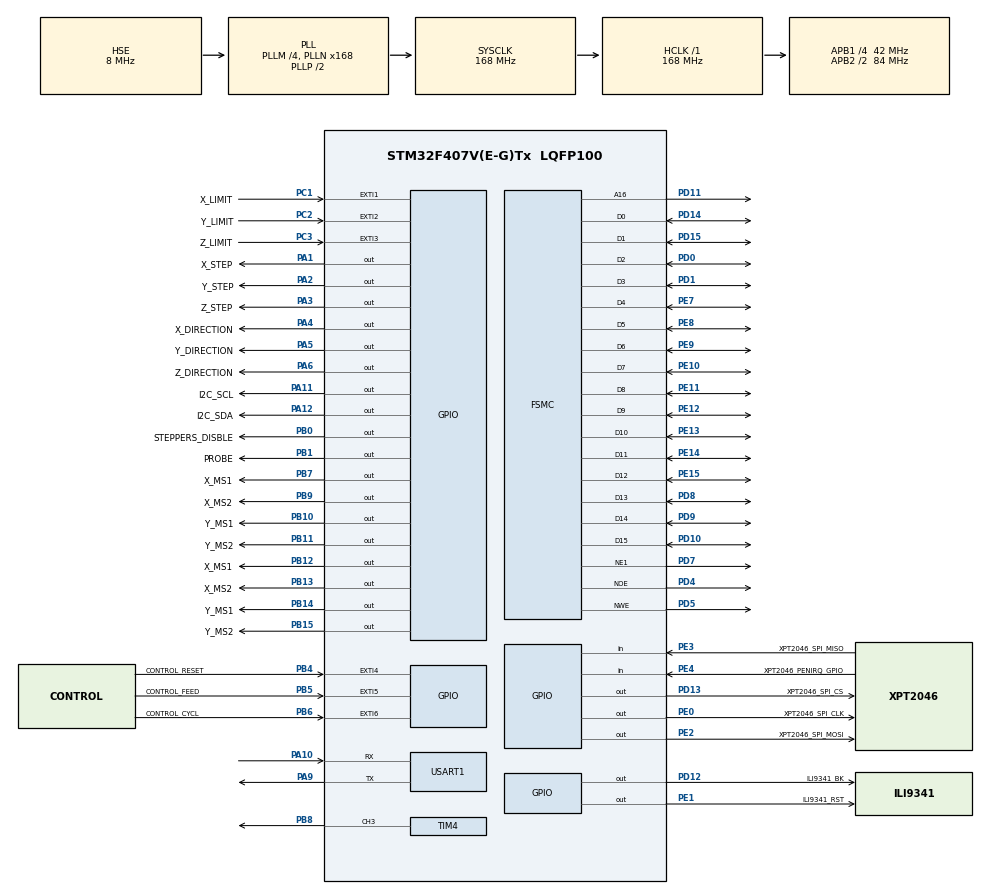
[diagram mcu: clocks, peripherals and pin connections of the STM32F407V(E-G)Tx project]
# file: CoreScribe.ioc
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FREERTOS.Tasks01=defaultTask,24,1024,StartDefaultTask,Default,NULL,Dynamic,NULL,NULL;grblTask,25,128,StartgrblTask,Default,NULL,Dynamic,NULL,NULL
FREERTOS.configUSE_NEWLIB_REENTRANT=1
FSMC.AccessMode1=FSMC_ACCESS_MODE_A
FSMC.AddressSetupTime1=1
FSMC.BusTurnAroundDuration1=0
FSMC.DataSetupTime1=4
FSMC.ExtendedMode1=FSMC_EXTENDED_MODE_ENABLE
Mcu.Family=STM32F4
Mcu.Name=STM32F407V(E-G)Tx
Mcu.Package=LQFP100
NVIC.PriorityGroup=NVIC_PRIORITYGROUP_4
NVIC.TIM2_IRQn=true\:6\:0\:true\:false\:true\:true\:true\:true\:true
NVIC.TIM3_IRQn=true\:7\:0\:true\:false\:true\:true\:true\:true\:true
NVIC.TIM5_IRQn=true\:8\:0\:true\:false\:true\:true\:true\:true\:true
NVIC.USART1_IRQn=true\:5\:0\:true\:false\:true\:true\:true\:true\:true
PA1.GPIO_Label=X_STEP
PA1.GPIO_Speed=GPIO_SPEED_FREQ_VERY_HIGH
PA1.Signal=GPIO_Output
PA10.Mode=Asynchronous
PA10.Signal=USART1_RX
PA11.GPIO_Label=I2C_SCL
PA11.GPIO_ModeDefaultOutputPP=GPIO_MODE_OUTPUT_OD
PA11.GPIO_PuPd=GPIO_PULLUP
PA11.GPIO_Speed=GPIO_SPEED_FREQ_VERY_HIGH
PA11.PinState=GPIO_PIN_SET
PA11.Signal=GPIO_Output
PA12.GPIO_Label=I2C_SDA
PA12.GPIO_ModeDefaultOutputPP=GPIO_MODE_OUTPUT_OD
PA12.GPIO_PuPd=GPIO_PULLUP
PA12.GPIO_Speed=GPIO_SPEED_FREQ_VERY_HIGH
PA12.PinState=GPIO_PIN_SET
PA12.Signal=GPIO_Output
PA13.Mode=Serial_Wire
PA13.Signal=SYS_JTMS-SWDIO
PA14.Mode=Serial_Wire
PA14.Signal=SYS_JTCK-SWCLK
PA2.GPIO_Label=Y_STEP
PA2.GPIO_Speed=GPIO_SPEED_FREQ_VERY_HIGH
PA2.Signal=GPIO_Output
PA3.GPIO_Label=Z_STEP
PA3.GPIO_Speed=GPIO_SPEED_FREQ_VERY_HIGH
PA3.Signal=GPIO_Output
PA4.GPIO_Label=X_DIRECTION
PA4.GPIO_Speed=GPIO_SPEED_FREQ_VERY_HIGH
PA4.Signal=GPIO_Output
PA5.GPIO_Label=Y_DIRECTION
PA5.GPIO_Speed=GPIO_SPEED_FREQ_VERY_HIGH
PA5.Signal=GPIO_Output
PA6.GPIO_Label=Z_DIRECTION
PA6.GPIO_Speed=GPIO_SPEED_FREQ_VERY_HIGH
PA6.Signal=GPIO_Output
PA9.Mode=Asynchronous
PA9.Signal=USART1_TX
PB0.GPIO_Label=STEPPERS_DISBLE
PB0.PinState=GPIO_PIN_SET
PB0.Signal=GPIO_Output
PB1.GPIO_Label=PROBE
PB1.Signal=GPIO_Output
PB10.GPIO_Label=Y_MS1
PB10.GPIO_ModeDefaultOutputPP=GPIO_MODE_OUTPUT_PP
PB10.GPIO_PuPd=GPIO_NOPULL
PB10.PinState=GPIO_PIN_SET
PB10.Signal=GPIO_Output
PB11.GPIO_Label=Y_MS2
PB11.PinState=GPIO_PIN_SET
PB11.Signal=GPIO_Output
PB12.GPIO_Label=X_MS1
PB12.GPIO_PuPd=GPIO_PULLUP
PB12.GPIO_Speed=GPIO_SPEED_FREQ_VERY_HIGH
PB12.PinState=GPIO_PIN_SET
PB12.Signal=GPIO_Output
PB13.GPIO_Label=X_MS2
PB13.GPIO_ModeDefaultOutputPP=GPIO_MODE_OUTPUT_PP
PB13.GPIO_PuPd=GPIO_PULLDOWN
PB13.GPIO_Speed=GPIO_SPEED_FREQ_VERY_HIGH
PB13.PinState=GPIO_PIN_SET
PB13.Signal=GPIO_Output
PB14.GPIO_Label=Y_MS1
PB14.GPIO_ModeDefaultOutputPP=GPIO_MODE_OUTPUT_PP
PB14.GPIO_PuPd=GPIO_PULLUP
PB14.GPIO_Speed=GPIO_SPEED_FREQ_VERY_HIGH
PB14.PinState=GPIO_PIN_SET
PB14.Signal=GPIO_Output
PB15.GPIO_Label=Y_MS2
PB15.GPIO_ModeDefaultOutputPP=GPIO_MODE_OUTPUT_PP
PB15.GPIO_PuPd=GPIO_PULLUP
PB15.GPIO_Speed=GPIO_SPEED_FREQ_VERY_HIGH
PB15.PinState=GPIO_PIN_SET
PB15.Signal=GPIO_Output
PB4.GPIO_Label=CONTROL_RESET
PB4.GPIO_PuPd=GPIO_PULLDOWN
PB4.Signal=GPXTI4
PB5.GPIO_Label=CONTROL_FEED
PB5.GPIO_PuPd=GPIO_PULLDOWN
PB5.Signal=GPXTI5
PB6.GPIO_Label=CONTROL_CYCL
PB6.GPIO_PuPd=GPIO_PULLDOWN
PB6.Signal=GPXTI6
PB7.GPIO_Label=X_MS1
PB7.PinState=GPIO_PIN_SET
PB7.Signal=GPIO_Output
PB8.Signal=S_TIM4_CH3
PB9.GPIO_Label=X_MS2
PB9.PinState=GPIO_PIN_SET
PB9.Signal=GPIO_Output
PC1.GPIO_Label=X_LIMIT
PC1.GPIO_PuPd=GPIO_PULLDOWN
PC1.Signal=GPXTI1
PC2.GPIO_Label=Y_LIMIT
PC2.GPIO_PuPd=GPIO_PULLDOWN
PC2.Signal=GPXTI2
PC3.GPIO_Label=Z_LIMIT
PC3.GPIO_PuPd=GPIO_PULLDOWN
PC3.Signal=GPXTI3
PD0.Mode=16b-d1
PD0.Signal=FSMC_D2
PD1.Mode=16b-d1
PD1.Signal=FSMC_D3
PD10.Mode=16b-d1
PD10.Signal=FSMC_D15
PD11.Mode=A16_1
PD11.Signal=FSMC_A16
PD12.GPIO_Label=ILI9341_BK
PD12.GPIO_ModeDefaultOutputPP=GPIO_MODE_OUTPUT_PP
PD12.GPIO_PuPd=GPIO_PULLUP
PD12.GPIO_Speed=GPIO_SPEED_FREQ_VERY_HIGH
PD12.PinState=GPIO_PIN_RESET
PD12.Signal=GPIO_Output
PD13.GPIO_Label=XPT2046_SPI_CS
PD13.GPIO_Speed=GPIO_SPEED_FREQ_VERY_HIGH
PD13.Signal=GPIO_Output
PD14.Mode=16b-d1
PD14.Signal=FSMC_D0
PD15.Mode=16b-d1
PD15.Signal=FSMC_D1
PD4.Mode=Lcd1
PD4.Signal=FSMC_NOE
PD5.Mode=Lcd1
PD5.Signal=FSMC_NWE
PD7.Mode=NorPsramChipSelect1_1
PD7.Signal=FSMC_NE1
PD8.Mode=16b-d1
PD8.Signal=FSMC_D13
PD9.Mode=16b-d1
PD9.Signal=FSMC_D14
PE0.GPIO_Label=XPT2046_SPI_CLK
PE0.GPIO_ModeDefaultOutputPP=GPIO_MODE_OUTPUT_PP
PE0.GPIO_Speed=GPIO_SPEED_FREQ_VERY_HIGH
PE0.Signal=GPIO_Output
PE1.GPIO_Label=ILI9341_RST
PE1.GPIO_ModeDefaultOutputPP=GPIO_MODE_OUTPUT_PP
PE1.GPIO_Speed=GPIO_SPEED_FREQ_VERY_HIGH
PE1.Signal=GPIO_Output
PE10.Mode=16b-d1
PE10.Signal=FSMC_D7
PE11.Mode=16b-d1
PE11.Signal=FSMC_D8
PE12.Mode=16b-d1
PE12.Signal=FSMC_D9
PE13.Mode=16b-d1
PE13.Signal=FSMC_D10
PE14.Mode=16b-d1
PE14.Signal=FSMC_D11
PE15.Mode=16b-d1
PE15.Signal=FSMC_D12
PE2.GPIO_Label=XPT2046_SPI_MOSI
PE2.GPIO_Speed=GPIO_SPEED_FREQ_VERY_HIGH
PE2.Signal=GPIO_Output
PE3.GPIO_Label=XPT2046_SPI_MISO
PE3.GPIO_PuPd=GPIO_PULLUP
PE3.Signal=GPIO_Input
PE4.GPIO_Label=XPT2046_PENIRQ_GPIO
PE4.GPIO_PuPd=GPIO_PULLUP
PE4.Signal=GPIO_Input
PE7.Mode=16b-d1
PE7.Signal=FSMC_D4
PE8.Mode=16b-d1
PE8.Signal=FSMC_D5
PE9.Mode=16b-d1
PE9.Signal=FSMC_D6
PH0-OSC_IN.Mode=HSE-External-Oscillator
PH0-OSC_IN.Signal=RCC_OSC_IN
PH1-OSC_OUT.Mode=HSE-External-Oscillator
PH1-OSC_OUT.Signal=RCC_OSC_OUT
ProjectManager.HeapSize=0x200
ProjectManager.StackSize=0x400
ProjectManager.TargetToolchain=STM32CubeIDE
RCC.48MHZClocksFreq_Value=84000000
RCC.AHBFreq_Value=168000000
RCC.APB1CLKDivider=RCC_HCLK_DIV4
RCC.APB1Freq_Value=42000000
RCC.APB1TimFreq_Value=84000000
RCC.APB2CLKDivider=RCC_HCLK_DIV2
RCC.APB2Freq_Value=84000000
RCC.APB2TimFreq_Value=168000000
RCC.CortexFreq_Value=168000000
RCC.HCLKFreq_Value=168000000
RCC.HSE_VALUE=8000000
RCC.HSI_VALUE=16000000
RCC.LSE_VALUE=32768
RCC.PLLM=4
RCC.PLLN=168
RCC.PLLSourceVirtual=RCC_PLLSOURCE_HSE
RCC.SYSCLKFreq_VALUE=168000000
RCC.SYSCLKSource=RCC_SYSCLKSOURCE_PLLCLK
RCC.VCOOutputFreq_Value=336000000
SH.S_TIM4_CH3.0=TIM4_CH3,PWM Generation3 CH3
TIM2.Period=100-1
TIM2.Prescaler=84-1
TIM3.Period=10-1
TIM3.Prescaler=84-1
TIM4.Channel-PWM\ Generation3\ CH3=TIM_CHANNEL_3
TIM4.Period=2000-1
TIM4.Prescaler=840-1
TIM5.Period=10-1
TIM5.Prescaler=8400
USART1.VirtualMode=VM_ASYNC
VP_FREERTOS_VS_CMSIS_V2.Mode=CMSIS_V2
VP_TIM2_VS_ClockSourceINT.Mode=Internal
VP_TIM3_VS_ClockSourceINT.Mode=Internal
VP_TIM4_VS_ClockSourceINT.Mode=Internal
VP_TIM5_VS_ClockSourceINT.Mode=Internal
board=custom

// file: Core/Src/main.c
/* USER CODE BEGIN Header */
/**
  ******************************************************************************
  * @file           : main.c
  * @brief          : Main program body
  ******************************************************************************
  * @attention
  *
  * Copyright (c) 2026 STMicroelectronics.
  * All rights reserved.
  * This software is licensed under terms that can be found in the LICENSE file
  * in the root directory of this software component.
  * If no LICENSE file comes with this software, it is provided AS-IS.
  *
  ******************************************************************************
  */
/* USER CODE END Header */
// Includes ------------------------------------------------------------------
#include "main.h"
#include "cmsis_os.h"
#include "tim.h"
#include "usart.h"
#include "gpio.h"
#include "fsmc.h"

// Private includes ----------------------------------------------------------
/* USER CODE BEGIN Includes */
#include "grbl.h"

#include "MyDelay.h"
#include "ILI9341_LCD.h"
#include "XPT2046_touch.h"
#include "lvgl.h"
#include "lv_port_disp_template.h"
#include "lv_port_indev_template.h"
//#include "lv_demo_stress.h"
//#include "malloc.h"
#include "servo.h"
#include "touch_calibration.h"
// demo
//#include "lv_demo_music.h"

#include <string.h>

/* USER CODE END Includes */

// Private typedef -----------------------------------------------------------

// Private define ------------------------------------------------------------

// Private macro -------------------------------------------------------------

// Private variables ---------------------------------------------------------

// Private function prototypes -----------------------------------------------
void SystemClock_Config(void);
void MX_FREERTOS_Init(void);

// Private user code ---------------------------------------------------------

int main(void)
{

  // MCU Configuration--------------------------------------------------------

  // Reset of all peripherals, Initializes the Flash interface and the Systick.
  HAL_Init();

  // Configure the system clock
  SystemClock_Config();

  // Initialize all configured peripherals
  MX_GPIO_Init();
  MX_USART1_UART_Init();
  MX_FSMC_Init();
  MX_TIM5_Init();
  MX_TIM2_Init();
  MX_TIM3_Init();
  MX_TIM4_Init();
  /* USER CODE BEGIN 2 */
  MyDelay_Init();
  Servo_Init();
  //HAL_TIM_Base_Start_IT(&htim5);
  SCB->CPACR |= ((3UL << 10*2)|(3UL << 11*2));

  //my_mem_init(SRAMIN);
  ILI9341_LCD_Init();
  XPT2046_Init();
  ILI9341_Clear();

  lv_init();
  // 这里只初始化LVGL内核；显示和触摸驱动在defaultTask里再初始化。

//  lv_port_disp_init();
//  lv_port_indev_init();
  //lv_demo_stress();

  Servo_SetPulseUs(PEN_UP_POSITION);

  	  //  lv_port_disp_init();
  	  //  lv_port_indev_init();
//
//      lv_obj_t* switch_obj = lv_switch_create(lv_scr_act());
//      lv_obj_set_size(switch_obj, 120, 60);
//      lv_obj_align(switch_obj, LV_ALIGN_CENTER, 0, 0);

  //grbl_Start();

  //ILI9341_Draw_Rec(10, 10, 200, 150, 0xf12547);

  touch_calibration_init();
  // 先把校准模块准备好，后面由LVGL任务定期调用touch_calibration_process。

  /* USER CODE END 2 */

  // Init scheduler
  // 这里会创建FreeRTOS任务对象（包含LVGL任务和Grbl任务）。
  osKernelInitialize();  // Call init function for freertos objects (in cmsis_os2.c)
  MX_FREERTOS_Init();

  // Start scheduler

  // 启动后控制权交给调度器，正常情况下不会返回到这里。
  osKernelStart();

  // We should never get here as control is now taken by the scheduler

  // Infinite loop
  /* USER CODE BEGIN WHILE */

  while (1)
  {

	  		MyDelay_ms(5);
	  		lv_timer_handler();

    /* USER CODE END WHILE */

  }
}

void SystemClock_Config(void)
{
  RCC_OscInitTypeDef RCC_OscInitStruct = {0};
  RCC_ClkInitTypeDef RCC_ClkInitStruct = {0};

  /** Configure the main internal regulator output voltage
  */
  __HAL_RCC_PWR_CLK_ENABLE();
  __HAL_PWR_VOLTAGESCALING_CONFIG(PWR_REGULATOR_VOLTAGE_SCALE1);

  /** Initializes the RCC Oscillators according to the specified parameters
  * in the RCC_OscInitTypeDef structure.
  */
  RCC_OscInitStruct.OscillatorType = RCC_OSCILLATORTYPE_HSE;
  RCC_OscInitStruct.HSEState = RCC_HSE_ON;
  RCC_OscInitStruct.PLL.PLLState = RCC_PLL_ON;
  RCC_OscInitStruct.PLL.PLLSource = RCC_PLLSOURCE_HSE;
  RCC_OscInitStruct.PLL.PLLM = 4;
  RCC_OscInitStruct.PLL.PLLN = 168;
  RCC_OscInitStruct.PLL.PLLP = RCC_PLLP_DIV2;
  RCC_OscInitStruct.PLL.PLLQ = 4;
  if (HAL_RCC_OscConfig(&RCC_OscInitStruct) != HAL_OK)
  {
    Error_Handler();
  }

  /** Initializes the CPU, AHB and APB buses clocks
  */
  RCC_ClkInitStruct.ClockType = RCC_CLOCKTYPE_HCLK|RCC_CLOCKTYPE_SYSCLK
                              |RCC_CLOCKTYPE_PCLK1|RCC_CLOCKTYPE_PCLK2;
  RCC_ClkInitStruct.SYSCLKSource = RCC_SYSCLKSOURCE_PLLCLK;
  RCC_ClkInitStruct.AHBCLKDivider = RCC_SYSCLK_DIV1;
  RCC_ClkInitStruct.APB1CLKDivider = RCC_HCLK_DIV4;
  RCC_ClkInitStruct.APB2CLKDivider = RCC_HCLK_DIV2;

  if (HAL_RCC_ClockConfig(&RCC_ClkInitStruct, FLASH_LATENCY_5) != HAL_OK)
  {
    Error_Handler();
  }
}

void Error_Handler(void)
{
  /* USER CODE BEGIN Error_Handler_Debug */
  // User can add his own implementation to report the HAL error return state
  __disable_irq();
  while (1)
  {
  }
  /* USER CODE END Error_Handler_Debug */
}

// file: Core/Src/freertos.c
/* USER CODE BEGIN Header */
/**
  ******************************************************************************
  * File Name          : freertos.c
  * Description        : Code for freertos applications
  ******************************************************************************
  * @attention
  *
  * Copyright (c) 2026 STMicroelectronics.
  * All rights reserved.
  *
  * This software is licensed under terms that can be found in the LICENSE file
  * in the root directory of this software component.
  * If no LICENSE file comes with this software, it is provided AS-IS.
  *
  ******************************************************************************
  */
/* USER CODE END Header */

// Includes ------------------------------------------------------------------
#include "FreeRTOS.h"
#include "task.h"
#include "main.h"
#include "cmsis_os.h"

// Private includes ----------------------------------------------------------
/* USER CODE BEGIN Includes */
#include "grbl.h"
#include "ui_jog.h"
#include "ui_lvgl.h"

/* USER CODE END Includes */

// Private typedef -----------------------------------------------------------

// Private define ------------------------------------------------------------

// Private macro -------------------------------------------------------------

// Private variables ---------------------------------------------------------
// Definitions for defaultTask
osThreadId_t defaultTaskHandle;
const osThreadAttr_t defaultTask_attributes = {
  // UI任务栈给大一点，避免界面创建和文本处理时栈不够。
  .name = "defaultTask",
  .stack_size = 1024 * 4,
  .priority = (osPriority_t) osPriorityNormal,
};
// Definitions for grblTask
osThreadId_t grblTaskHandle;
const osThreadAttr_t grblTask_attributes = {
  // Grbl任务优先级略高一点，运动控制响应更稳。
  .name = "grblTask",
  .stack_size = 512 * 4,
  .priority = (osPriority_t) osPriorityNormal1,
};

// Private function prototypes -----------------------------------------------

void StartDefaultTask(void *argument);
void StartgrblTask(void *argument);

void MX_FREERTOS_Init(void); // (MISRA C 2004 rule 8.1)

void MX_FREERTOS_Init(void) {
  /* USER CODE BEGIN Init */
  // 先把UI侧Jog队列初始化好，再创建线程。
  ui_jog_init();

  /* USER CODE END Init */

  /* USER CODE BEGIN RTOS_MUTEX */
  // add mutexes, ...
  /* USER CODE END RTOS_MUTEX */

  /* USER CODE BEGIN RTOS_SEMAPHORES */
  // add semaphores, ...
  /* USER CODE END RTOS_SEMAPHORES */

  /* USER CODE BEGIN RTOS_TIMERS */
  // start timers, add new ones, ...
  /* USER CODE END RTOS_TIMERS */

  /* USER CODE BEGIN RTOS_QUEUES */
  // add queues, ...
  /* USER CODE END RTOS_QUEUES */

  // Create the thread(s)
  // creation of defaultTask
  defaultTaskHandle = osThreadNew(StartDefaultTask, NULL, &defaultTask_attributes);

  // creation of grblTask
  grblTaskHandle = osThreadNew(StartgrblTask, NULL, &grblTask_attributes);

  /* USER CODE BEGIN RTOS_THREADS */
  // add threads, ...
  /* USER CODE END RTOS_THREADS */

  /* USER CODE BEGIN RTOS_EVENTS */
  // add events, ...
  /* USER CODE END RTOS_EVENTS */

}

void StartDefaultTask(void *argument)
{
  /* USER CODE BEGIN StartDefaultTask */
  // 所有LVGL调用都放这个任务里，避免多线程同时改UI。
  ui_lvgl_task_init();

  // Infinite loop
  for(;;)
  {
    // LVGL会返回建议的下次执行间隔，这里直接按它给的时间休眠。
    osDelay(ui_lvgl_task_step());
  }
  /* USER CODE END StartDefaultTask */
}

void StartgrblTask(void *argument)
{
  /* USER CODE BEGIN StartgrblTask */

  // 稍等一会，让串口、UI和外设先稳定，再进Grbl主循环。
  osDelay(20);
  grbl_Start();

  // Infinite loop
  for(;;)
  {
    // 如果grbl_Start意外返回，这里让任务活着并持续让出CPU。
    osDelay(1);
  }
  /* USER CODE END StartgrblTask */
}

// Private application code --------------------------------------------------
